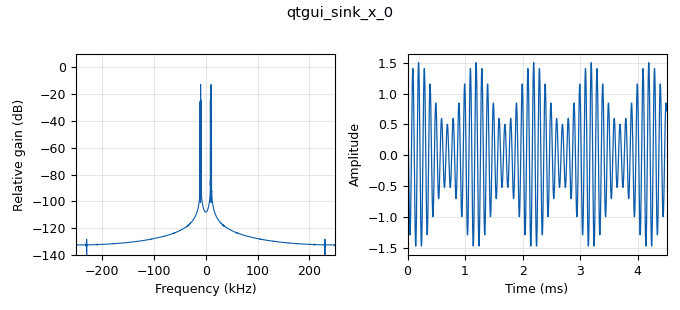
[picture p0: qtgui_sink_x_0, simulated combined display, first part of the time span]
options:
  parameters:
    author: pieterverbeek
    generate_options: qt_gui
    id: ECSE351ProblemSet_FM
    output_language: python
    title: Not titled yet
  states: {}

blocks:
- name: AM_amp
  id: variable
  parameters:
    value: '1'
  states: {}
- name: f_carrier
  id: variable_qtgui_range
  parameters:
    start: '5000'
    step: '.1'
    stop: '15000'
    value: '10000'
  states: {}
- name: f_mod
  id: variable_qtgui_range
  parameters:
    start: '300'
    step: '100'
    stop: '2700'
    value: '1000'
  states: {}
- name: mod_index
  id: variable_qtgui_range
  parameters:
    start: '0'
    step: '.1'
    stop: '1'
    value: '.5'
  states: {}
- name: samp_rate
  id: variable
  parameters:
    value: '500000'
  states: {}
- name: analog_const_source_x_0
  id: analog_const_source_x
  parameters:
    const: mod_index
    type: float
  states: {}
- name: analog_const_source_x_1
  id: analog_const_source_x
  parameters:
    const: '1.0'
    type: float
  states: {}
- name: analog_sig_source_x_0
  id: analog_sig_source_x
  parameters:
    amp: '1'
    freq: f_mod
    offset: '0'
    phase: '0'
    samp_rate: samp_rate
    type: float
    waveform: analog.GR_COS_WAVE
  states: {}
- name: analog_sig_source_x_1
  id: analog_sig_source_x
  parameters:
    amp: '1'
    freq: f_carrier
    offset: '0'
    phase: '0'
    samp_rate: samp_rate
    type: float
    waveform: analog.GR_COS_WAVE
  states: {}
- name: blocks_add_xx_0
  id: blocks_add_xx
  parameters:
    type: float
  states: {}
- name: blocks_multiply_xx_0
  id: blocks_multiply_xx
  parameters:
    type: float
  states: {}
- name: blocks_multiply_xx_1
  id: blocks_multiply_xx
  parameters:
    type: float
  states: {}
- name: blocks_throttle2_0
  id: blocks_throttle2
  parameters:
    samples_per_second: samp_rate
    type: float
  states: {}
- name: qtgui_sink_x_0
  id: qtgui_sink_x
  parameters:
    bw: samp_rate
    fc: '0'
    fftsize: '16384'
    plotconst: 'False'
    showrf: 'True'
    type: float
    wintype: window.WIN_KAISER
  states: {}

connections:
- [analog_const_source_x_0, '0', blocks_multiply_xx_1, '1']
- [analog_const_source_x_1, '0', blocks_add_xx_0, '1']
- [analog_sig_source_x_0, '0', blocks_multiply_xx_1, '0']
- [analog_sig_source_x_1, '0', blocks_multiply_xx_0, '1']
- [blocks_add_xx_0, '0', blocks_multiply_xx_0, '0']
- [blocks_multiply_xx_0, '0', blocks_throttle2_0, '0']
- [blocks_multiply_xx_1, '0', blocks_add_xx_0, '0']
- [blocks_throttle2_0, '0', qtgui_sink_x_0, '0']

metadata:
  file_format: 1
  grc_version: 3.10.12.0
